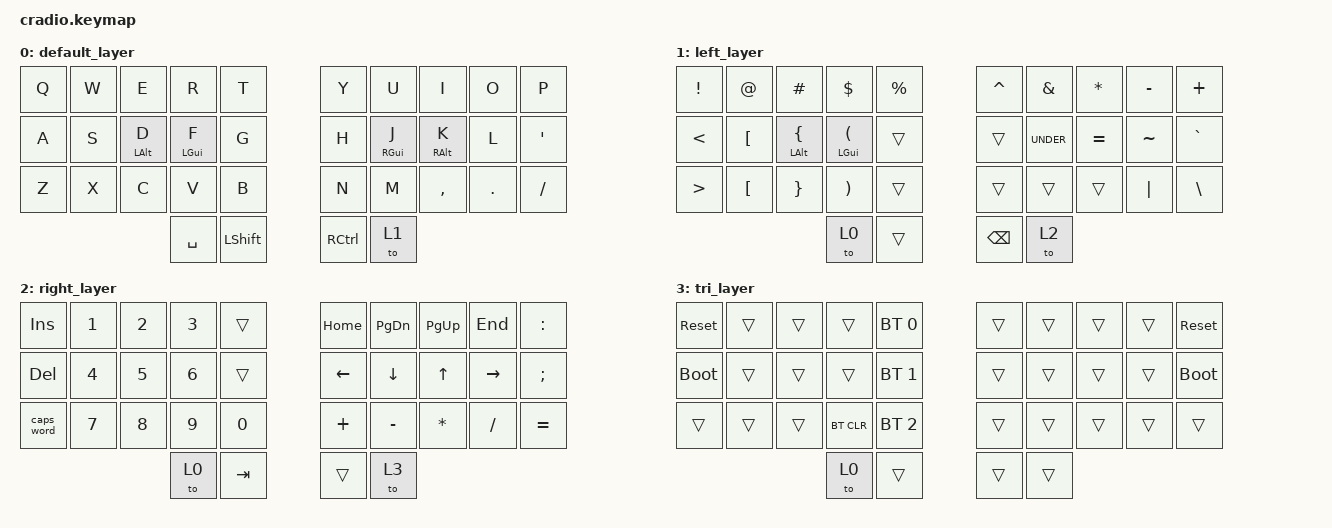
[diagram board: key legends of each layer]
// Copyright (c) 2022 The ZMK Contributors
// SPDX-License-Identifier: MIT

#include <behaviors.dtsi>
#include <dt-bindings/zmk/keys.h>
#include <dt-bindings/zmk/bt.h>

// Home row mods macro
#define HRML(k1,k2,k3,k4) &ht LSHFT k1  &ht LALT k2  &ht LCTRL k3  &ht LGUI k4
#define HRMR(k1,k2,k3,k4) &ht RGUI k1  &ht RCTRL k2  &ht RALT k3  &ht RSHFT k4

/ {
    behaviors {
        ht: hold_tap {
            compatible = "zmk,behavior-hold-tap";
            #binding-cells = <2>;
            flavor = "tap-preferred";
            tapping-term-ms = <220>;
            quick-tap-ms = <150>;
            require-prior-idle-ms = <100>;
            bindings = <&kp>, <&kp>;
    };
        hm: homerow_mods {
          compatible = "zmk,behavior-hold-tap";
          label = "HOMEROW_MODS";
          #binding-cells = <2>;
          tapping-term-ms = <200>;
          quick_tap_ms = <0>;
          flavor = "tap-preferred";
          bindings = <&kp>, <&kp>;
        };
        td: tapdance {
          compatible = "zmk,behavior-hold-tap";
          label = "TAPDANCE";
          #binding-cells = <2>;
          tapping-term-ms = <150>;
          quick_tap_ms = <0>;
          flavor = "tap-preferred";
          bindings = <&kp>, <&kp>;
        };
    };
    // conditional_layers {
    //     compatible = "zmk,conditional-layers";
    //     tri_layer {
    //         if-layers = <1 2>;
    //         then-layer = <3>;
    //     };
    // };

    keymap {
        compatible = "zmk,keymap";
        default_layer {
            bindings = <
        //╭──────────┬──────────┬──────────┬──────────┬──────────╮   ╭──────────┬──────────┬──────────┬──────────┬──────────╮
        //│  Q       │  W       │  E       │  R       │  T       │   │  Y       │  U       │  I       │  O       │  P       │
            &kp Q      &kp W      &kp E      &kp R      &kp T          &kp Y      &kp U      &kp I      &kp O      &kp P
        //├──────────┼──────────┼──────────┼──────────┼──────────┤   ├──────────┼──────────┼──────────┼──────────┼──────────┤
        //│  A       │  S       │  D       │  F       │  G       │   │  H       │  J       │  K       │  L       │ ' "      │
            &kp A       &kp S   &hm LALT D  &hm LGUI F   &kp G          &kp H    &hm RGUI J  &hm RALT K   &kp L     &kp SQT
        //├──────────┼──────────┼──────────┼──────────┼──────────┤   ├──────────┼──────────┼──────────┼──────────┼──────────┤
        //│  Z       │  X       │  C       │  V       │  B       │   │  N       │  M       │ , <      │ . >      │ / ?      │
            &kp Z      &kp X      &kp C      &kp V      &kp B          &kp N      &kp M      &kp COMMA  &kp DOT    &kp FSLH
        //╰──────────┴──────────┴──────────┼──────────┼──────────┤   ├──────────┼──────────┼──────────┴──────────┴──────────╯
                                            &kp SPACE &kp LSHFT       &kp RCTRL   &to 1
        //                                  &kp LCTRL &lt 2 SPACE     &kp BSPC   &lt 1 ESC
        //                                  &lt 2 TAB   &kp ENTER     &kp SPACE  &lt 1 BSPC
        //                                 ╰──────────┴──────────╯   ╰──────────┴──────────╯
            >;
        };

        left_layer {
            bindings = <
        //╭──────────┬──────────┬──────────┬──────────┬──────────╮        ╭──────────┬──────────┬──────────┬──────────┬──────────╮
        //│  !       │  @       │  #       │  $       │ %        │        │  ^       │  &       │  *       │  -       │  +       │
            &kp EXCL   &kp AT    &kp HASH   &kp DLLR   &kp PRCNT           &kp CARET  &kp AMPS   &kp ASTRK   &kp MINUS   &kp PLUS
        //├──────────┼──────────┼──────────┼──────────┼──────────┤        ├──────────┼──────────┼──────────┼──────────┼──────────┤
        //│  <       │  [       │  {       │  (       │          │        │          │  _       │  =       │  ~       │  `       │
            &kp LT   &kp LBKT   &hm LALT LBRC &hm LGUI LPAR &trans         &trans     &UNDER     &kp EQUAL  &kp TILDE   &kp GRAVE
        //├──────────┼──────────┼──────────┼──────────┼──────────┤        ├──────────┼──────────┼──────────┼──────────┼──────────┤
        //│  >       │  ]       │  }       │  )       │          │        │          │          │          │  │       │  \       │
            &kp GT     &kp LBKT   &kp RBRC  &kp RPAR     &trans            &trans     &trans      &trans     &kp PIPE   &kp BSLH
        //╰──────────┴──────────┴──────────┼──────────┼──────────┤        ├──────────┼──────────┼──────────┴──────────┴──────────╯
                                             &to 0     &trans              &kp BSPC     &to 2
        //                                 ╰──────────┴──────────╯        ╰──────────┴──────────╯
        //                                                                  ^ set the key 2 up to be backspace word/line if held
            >;
        };
        right_layer {
            bindings = <
        //╭──────────┬──────────┬──────────┬──────────┬──────────╮   ╭──────────┬──────────┬──────────┬──────────┬──────────╮
        //│ INSERT   │  1       │  2       │  3       │          │   │ HOME     │ PAGE DN  │ PAGE UP  │ END      │  :       │
            &kp INS    &kp N1     &kp N2     &kp N3     &trans         &kp HOME   &kp PG_DN  &kp PG_UP  &kp END    &kp COLON
        //├──────────┼──────────┼──────────┼──────────┼──────────┤   ├──────────┼──────────┼──────────┼──────────┼──────────┤
        //│ DELETE   │  4       │  5       │  6       │          │   │ LEFT     │ DOWN     │ UP       │ RIGHT    │  ;       │
            &kp DEL    &kp N4     &kp N5     &kp N6     &trans         &kp LEFT   &kp DOWN   &kp UP   &kp RIGHT   &kp SEMI
        //├──────────┼──────────┼──────────┼──────────┼──────────┤   ├──────────┼──────────┼──────────┼──────────┼──────────┤
        //│ CAPS     │  7       │  8       │  9       │  0       │   │ +        │ -        │ *        │ /        │ =        │
           &caps_word  &kp N7     &kp N8     &kp N9     &kp N0         &kp PLUS  &kp MINUS  &kp ASTRK  &kp FSLH   &kp EQUAL
        //╰──────────┴──────────┴──────────┼──────────┼──────────┤   ├──────────┼──────────┼──────────┴──────────┴──────────╯
                                            &to 0       &kp TAB        &trans     &to 3
        //                                 ╰──────────┴──────────╯   ╰──────────┴──────────╯
            >;
        };

        tri_layer {
            bindings = <
        //╭──────────┬──────────┬──────────┬──────────┬──────────╮   ╭──────────┬──────────┬──────────┬──────────┬──────────╮
        //│ RESET    │          │          │          │PROFILE 0 │   │          │          │          │          │  RESET   │
           &sys_reset  &trans     &trans     &trans    &bt BT_SEL 0    &trans     &trans     &trans     &trans    &sys_reset
        //├──────────┼──────────┼──────────┼──────────┼──────────┤   ├──────────┼──────────┼──────────┼──────────┼──────────┤
        //│BOOTLOADER│          │          │          │PROFILE 1 │   │          │          │          │          │BOOTLOADER│
          &bootloader  &trans     &trans     &trans    &bt BT_SEL 1    &trans     &trans     &trans     &trans    &bootloader
        //├──────────┼──────────┼──────────┼──────────┼──────────┤   ├──────────┼──────────┼──────────┼──────────┼──────────┤
        //│          │          │          │ CLEAR BT │PROFILE 2 │   │          │          │          │          │          │
            &trans     &trans     &trans    &bt BT_CLR &bt BT_SEL 2    &trans     &trans     &trans     &trans     &trans
        //╰──────────┴──────────┴──────────┼──────────┼──────────┤   ├──────────┼──────────┼──────────┴──────────┴──────────╯
                                             &to 0     &trans         &trans     &trans
        //                                 ╰──────────┴──────────╯   ╰──────────┴──────────╯
            >;
  };
};
};
